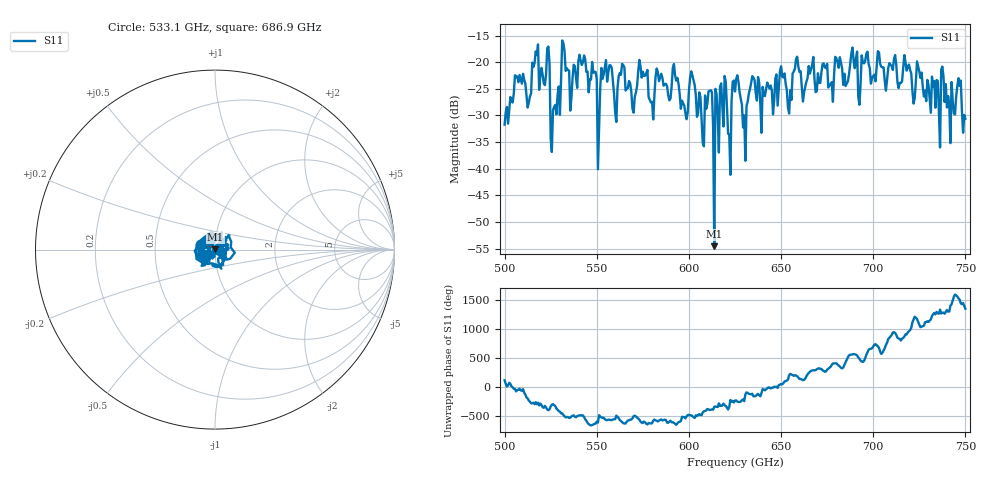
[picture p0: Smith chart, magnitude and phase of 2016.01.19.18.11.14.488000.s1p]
!Created with skrf (http://scikit-rf.org).
# GHz S RI R 50.0
!freq ReS11 ImS11
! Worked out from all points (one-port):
!   401 points, 500 GHz to 750 GHz, reference 50 ohm
!   lowest |S11| = -54.6 dB at 613.8 GHz (marker M1), VSWR 1.00, Z = 50.2 + j0.0641 ohm
!   |S11| at or under -10 dB: start of sweep to end of sweep
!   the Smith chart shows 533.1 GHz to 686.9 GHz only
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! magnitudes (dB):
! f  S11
! 500 GHz  -31.7
! 506.9 GHz  -22.7
! 513.1 GHz  -27.6
! 516.9 GHz  -18.0
! 523.1 GHz  -17.4
! 526.2 GHz  -29.0
! 531.2 GHz  -15.9
! 548.8 GHz  -21.8
! 550.6 GHz  -40.1
! 553.8 GHz  -22.3
! 562.5 GHz  -22.0
! 593.8 GHz  -22.9
! 598.1 GHz  -29.7
! 601.9 GHz  -22.5
! 608.1 GHz  -35.8
! 611.2 GHz  -25.4
! 613.8 GHz  -54.6
! 618.8 GHz  -32.1
! 621.9 GHz  -33.5
! 625 GHz  -25.5
! 630 GHz  -30.0
! 634.4 GHz  -22.6
! 656.2 GHz  -22.1
! 687.5 GHz  -20.3
! 718.8 GHz  -20.9
! 735 GHz  -23.5
! 746.2 GHz  -23.0
! 750 GHz  -30.6
